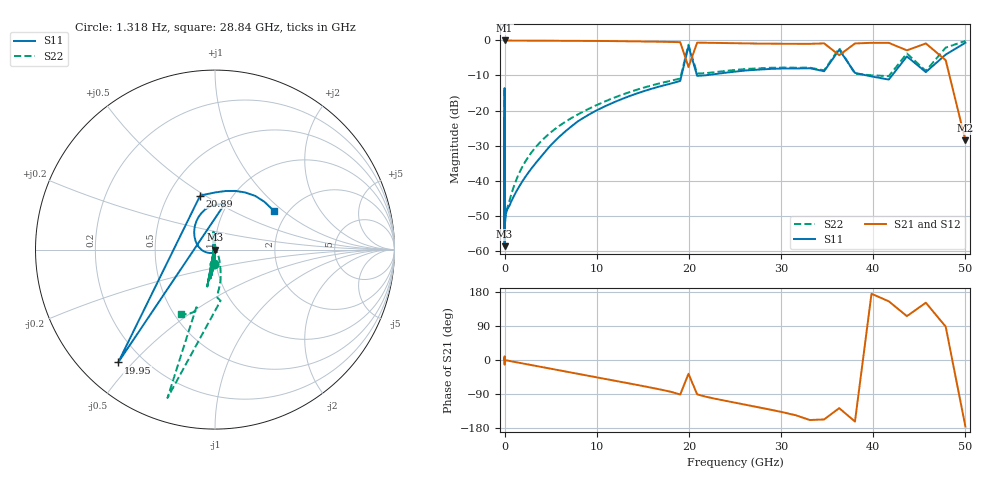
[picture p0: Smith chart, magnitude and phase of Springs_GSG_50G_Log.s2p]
! Touchstone file exported from HFSS 2018.2.0
!  File:  D:/Ansoft_projects/ML9294A_springs.aedt
!  Generated:  12:58:45 PM  May 30, 2019
!  Design:  GSG
!  Project:  ML9294A_springs
!  Setup:  Setup1
!  Solution:  Logsweep
# GHZ S MA R 50.000000
! Terminal data exported
! Port[1] = Tip
! Port[2] = Post
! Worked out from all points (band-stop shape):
!   536 points, 1 Hz to 50 GHz, reference per port
!   highest |S21| = -0.01 dB at 1.259 kHz (marker M1); lowest = -28.5 dB at 50 GHz (marker M2)
!   |S21| within 3 dB of the highest: start of sweep to 19.37 GHz; 20.57 GHz to 35.72 GHz (15.15 GHz wide, 53.8 % of centre)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
!   lowest |S11| = -58.7 dB at 1.259 kHz (marker M3), VSWR 1.00
!   |S11| at or under -10 dB: start of sweep to 19.2 GHz; 20.88 GHz to 21.51 GHz (632.9 MHz wide, 2.99 % of centre); 39.32 GHz to 42.03 GHz (2.709 GHz wide, 6.66 % of centre)
!   |S22| runs from -58.7 to -0.1 dB; largest |S21 - S12| = 1.5e-07
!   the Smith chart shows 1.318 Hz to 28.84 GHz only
!   S11 on the Smith chart (normalised r, x): 1.318 Hz: 0.98, -0.16; 19.95 GHz: 0.11, -0.45; 20.89 GHz: 0.71, +0.48; 28.84 GHz: 1.69, +0.87
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1e-09  0.07855 93.7  0.9957 4.5  0.9957 4.5  0.07892 93.7
! Port Impedance50 0 0 0 0 0 50 0
1.318257e-09  0.0814 -93.9  0.9955 -4.7  0.9955 -4.7  0.08177 -93.9
1.819701e-09  0.09371 -94.7  0.9944 -5.4  0.9944 -5.4  0.09414 -94.7
2.398833e-09  0.0612 92.4  0.9969 3.5  0.9969 3.5  0.06149 92.4
3.019952e-09  0.03107 -89.6  0.9984 -1.8  0.9984 -1.8  0.03121 -89.7
5.248075e-09  0.005266 77.6  0.9988 0.3  0.9988 0.3  0.005293 77.6
5.754399e-09  0.02389 -88.6  0.9986 -1.4  0.9986 -1.4  0.024 -88.6
7.943282e-09  0.01176 -85.0  0.9988 -0.7  0.9988 -0.7  0.01181 -85.0
1.513561e-08  0.001161 1.5  0.9988 0.0  0.9988 0.0  0.001161 1.5
3.311311e-08  0.002309 -59.9  0.9988 -0.1  0.9988 -0.1  0.002317 -60.0
6.309573e-08  0.001166 5.6  0.9988 0.0  0.9988 0.0  0.001166 5.6
1.258925e-06  0.001161 -0.0  0.9988 -0.0  0.9988 -0.0  0.001161 -0.0
3.801894e-06  0.001161 -0.7  0.9988 -0.0  0.9988 -0.0  0.001161 -0.7
0.0002290868  0.001167 1.8  0.9988 -0.0  0.9988 -0.0  0.001167 1.8
0.01380384  0.001844 20.9  0.9983 -0.1  0.9983 -0.1  0.001845 20.9
0.8317638  0.00541 -33.9  0.9945 -3.9  0.9945 -3.9  0.007069 -30.0
7.24436  0.05936 -169.3  0.9871 -32.9  0.9871 -32.9  0.07803 -69.9
19.95262  0.8285 -130.6  0.4177 -36.4  0.4177 -36.4  0.8677 -107.8
20.89296  0.3124 105.3  0.9291 -90.6  0.9291 -90.6  0.337 -107.9
28.84032  0.3921 33.7  0.8977 -131.0  0.8977 -131.0  0.407 -118.0
43.65158  0.5904 137.1  0.7216 115.7  0.7216 115.7  0.6511 -90.7
50  0.9266 28.8  0.03755 -175.6  0.03755 -175.6  0.984 -129.5
